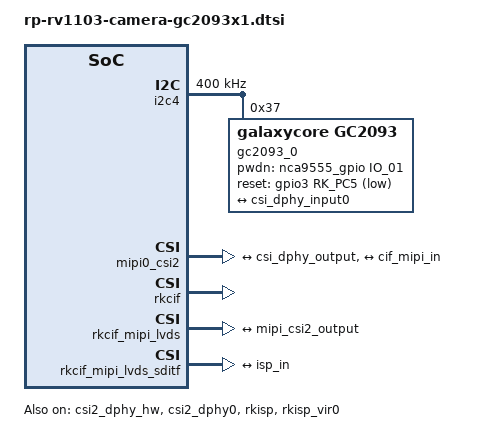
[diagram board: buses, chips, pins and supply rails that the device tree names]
/*
 * Added by rpdzkj
 */

&i2c4 {
    status = "okay";
    clock-frequency = <400000>;
    pinctrl-names = "default";
    pinctrl-0 = <&i2c4m2_xfer>;

    gc2093_0: gc2093_0@37 {
        compatible = "galaxycore,gc2093";
        status = "okay";
        reg = <0x37>;
        clocks = <&cru MCLK_REF_MIPI0>;
        clock-names = "xvclk";
       // power-domains = <&power RV1106_PD_VI>;
        pinctrl-names = "default";
        pinctrl-0 = <&mipi_refclk_out0>;
        pwdn-gpios = <&nca9555_gpio IO_01 GPIO_ACTIVE_HIGH>;
        reset-gpios = <&gpio3 RK_PC5 GPIO_ACTIVE_LOW>;
        rockchip,camera-module-index = <0>;
        rockchip,camera-module-facing = "back";
        rockchip,camera-module-name = "SIDA209300461";
        rockchip,camera-module-lens-name = "60IRC_F20";
        port {
            ucam_out0: endpoint {
                remote-endpoint = <&csi_dphy_input0>;
                data-lanes = <1 2>;
            };
        };
    };
};
&csi2_dphy_hw {
	status = "okay";
};

&csi2_dphy0 {
	status = "okay";

	ports {
		#address-cells = <1>;
		#size-cells = <0>;

		port@0 {
			reg = <0>;
			#address-cells = <1>;
			#size-cells = <0>;

			csi_dphy_input0: endpoint@0 {
				reg = <0>;
				remote-endpoint = <&ucam_out0>;
				data-lanes = <1 2>;
			};
		};

		port@1 {
			reg = <1>;
			#address-cells = <1>;
			#size-cells = <0>;

			csi_dphy_output: endpoint@0 {
				reg = <0>;
				remote-endpoint = <&mipi_csi2_input>;
			};
		};
	};
};


&mipi0_csi2 {
	status = "okay";

	ports {
		#address-cells = <1>;
		#size-cells = <0>;

		port@0 {
			reg = <0>;
			#address-cells = <1>;
			#size-cells = <0>;

			mipi_csi2_input: endpoint@1 {
				reg = <1>;
				remote-endpoint = <&csi_dphy_output>;
			};
		};

		port@1 {
			reg = <1>;
			#address-cells = <1>;
			#size-cells = <0>;

			mipi_csi2_output: endpoint@0 {
				reg = <0>;
				remote-endpoint = <&cif_mipi_in>;
			};
		};
	};
};

&rkcif {
    status = "okay";
    pinctrl-names = "default";
    pinctrl-0 = <&mipi_pins>;
};

&rkcif_mipi_lvds {
	status = "okay";

	port {
		/* MIPI CSI-2 endpoint */
		cif_mipi_in: endpoint {
			remote-endpoint = <&mipi_csi2_output>;
		};
	};
};

&rkcif_mipi_lvds_sditf {
	status = "okay";

	port {
		/* MIPI CSI-2 endpoint */
		mipi_lvds_sditf: endpoint {
			remote-endpoint = <&isp_in>;
		};
	};
};

&rkisp {
	status = "okay";
};

&rkisp_vir0 {
	status = "okay";

	port@0 {
		isp_in: endpoint {
			remote-endpoint = <&mipi_lvds_sditf>;
		};
	};
};
